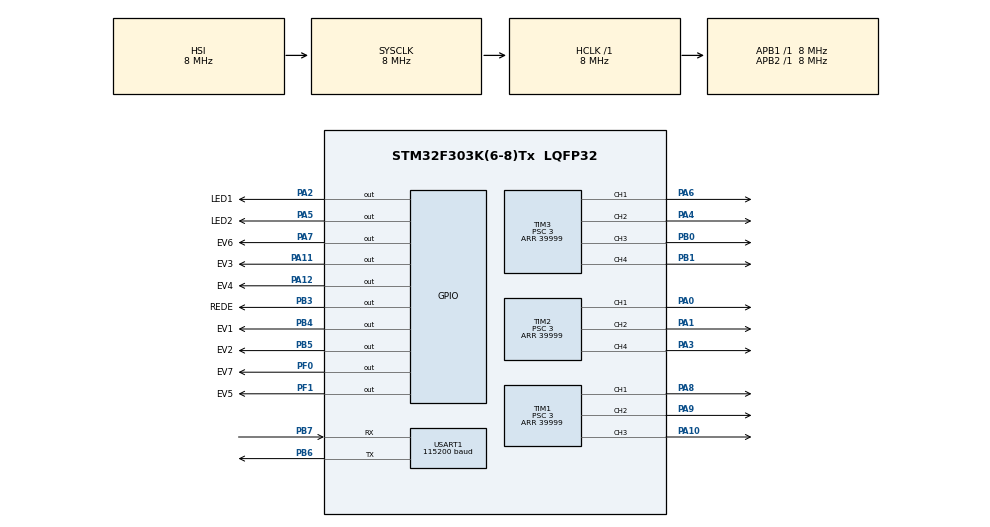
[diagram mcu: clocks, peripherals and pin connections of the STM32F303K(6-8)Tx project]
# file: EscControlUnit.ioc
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Mcu.Family=STM32F3
Mcu.Name=STM32F303K(6-8)Tx
Mcu.Package=LQFP32
NVIC.PriorityGroup=NVIC_PRIORITYGROUP_4
NVIC.USART1_IRQn=true\:1\:0\:true\:false\:true
PA0.Signal=S_TIM2_CH1_ETR
PA1.Signal=S_TIM2_CH2
PA10.Signal=S_TIM1_CH3
PA11.GPIO_Label=EV3
PA11.Signal=GPIO_Output
PA12.GPIO_Label=EV4
PA12.Signal=GPIO_Output
PA13.Mode=Serial_Wire
PA13.Signal=SYS_JTMS-SWDIO
PA14.Mode=Serial_Wire
PA14.Signal=SYS_JTCK-SWCLK
PA2.GPIO_Label=LED1
PA2.Signal=GPIO_Output
PA3.Signal=S_TIM2_CH4
PA4.Signal=S_TIM3_CH2
PA5.GPIO_Label=LED2
PA5.Signal=GPIO_Output
PA6.Signal=S_TIM3_CH1
PA7.GPIO_Label=EV6
PA7.Signal=GPIO_Output
PA8.Signal=S_TIM1_CH1
PA9.Signal=S_TIM1_CH2
PB0.Signal=S_TIM3_CH3
PB1.Signal=S_TIM3_CH4
PB3.GPIO_Label=REDE
PB3.Signal=GPIO_Output
PB4.GPIO_Label=EV1
PB4.Signal=GPIO_Output
PB5.GPIO_Label=EV2
PB5.Signal=GPIO_Output
PB6.Mode=Asynchronous
PB6.Signal=USART1_TX
PB7.Mode=Asynchronous
PB7.Signal=USART1_RX
PF0\ /\ OSC_IN.GPIO_Label=EV7
PF0\ /\ OSC_IN.Signal=GPIO_Output
PF1\ /\ OSC_OUT.GPIO_Label=EV5
PF1\ /\ OSC_OUT.Signal=GPIO_Output
ProjectManager.HeapSize=0x200
ProjectManager.StackSize=0x400
ProjectManager.TargetToolchain=SW4STM32
RCC.AHBFreq_Value=8000000
RCC.APB1Freq_Value=8000000
RCC.APB2Freq_Value=8000000
RCC.CortexFreq_Value=8000000
RCC.HSE_VALUE=8000000
RCC.HSI_VALUE=8000000
RCC.SYSCLKFreq_VALUE=8000000
SH.S_TIM1_CH1.0=TIM1_CH1,PWM Generation1 CH1
SH.S_TIM1_CH2.0=TIM1_CH2,Output Compare2 CH2
SH.S_TIM1_CH3.0=TIM1_CH3,Output Compare3 CH3
SH.S_TIM2_CH1_ETR.0=TIM2_CH1,PWM Generation1 CH1
SH.S_TIM2_CH2.0=TIM2_CH2,PWM Generation2 CH2
SH.S_TIM2_CH4.0=TIM2_CH4,PWM Generation4 CH4
SH.S_TIM3_CH1.0=TIM3_CH1,PWM Generation1 CH1
SH.S_TIM3_CH2.0=TIM3_CH2,PWM Generation2 CH2
SH.S_TIM3_CH3.0=TIM3_CH3,PWM Generation3 CH3
SH.S_TIM3_CH4.0=TIM3_CH4,PWM Generation4 CH4
TIM1.Channel-Output\ Compare2\ CH2=TIM_CHANNEL_2
TIM1.Channel-Output\ Compare3\ CH3=TIM_CHANNEL_3
TIM1.Period=39999
TIM1.Prescaler=3
TIM2.Channel-PWM\ Generation2\ CH2=TIM_CHANNEL_2
TIM2.Channel-PWM\ Generation4\ CH4=TIM_CHANNEL_4
TIM2.Period=39999
TIM2.Prescaler=3
TIM3.Channel-PWM\ Generation2\ CH2=TIM_CHANNEL_2
TIM3.Channel-PWM\ Generation3\ CH3=TIM_CHANNEL_3
TIM3.Channel-PWM\ Generation4\ CH4=TIM_CHANNEL_4
TIM3.Period=39999
TIM3.Prescaler=3
USART1.BaudRate=115200
USART1.WordLength=UART_WORDLENGTH_8B
board=EscControlUnit

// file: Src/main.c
/**
  ******************************************************************************
  * File Name          : main.c
  * Description        : Main program body
  ******************************************************************************
  *
  * COPYRIGHT(c) 2017 STMicroelectronics
  *
  * Redistribution and use in source and binary forms, with or without modification,
  * are permitted provided that the following conditions are met:
  *   1. Redistributions of source code must retain the above copyright notice,
  *      this list of conditions and the following disclaimer.
  *   2. Redistributions in binary form must reproduce the above copyright notice,
  *      this list of conditions and the following disclaimer in the documentation
  *      and/or other materials provided with the distribution.
  *   3. Neither the name of STMicroelectronics nor the names of its contributors
  *      may be used to endorse or promote products derived from this software
  *      without specific prior written permission.
  *
  * THIS SOFTWARE IS PROVIDED BY THE COPYRIGHT HOLDERS AND CONTRIBUTORS "AS IS"
  * AND ANY EXPRESS OR IMPLIED WARRANTIES, INCLUDING, BUT NOT LIMITED TO, THE
  * IMPLIED WARRANTIES OF MERCHANTABILITY AND FITNESS FOR A PARTICULAR PURPOSE ARE
  * DISCLAIMED. IN NO EVENT SHALL THE COPYRIGHT HOLDER OR CONTRIBUTORS BE LIABLE
  * FOR ANY DIRECT, INDIRECT, INCIDENTAL, SPECIAL, EXEMPLARY, OR CONSEQUENTIAL
  * DAMAGES (INCLUDING, BUT NOT LIMITED TO, PROCUREMENT OF SUBSTITUTE GOODS OR
  * SERVICES; LOSS OF USE, DATA, OR PROFITS; OR BUSINESS INTERRUPTION) HOWEVER
  * CAUSED AND ON ANY THEORY OF LIABILITY, WHETHER IN CONTRACT, STRICT LIABILITY,
  * OR TORT (INCLUDING NEGLIGENCE OR OTHERWISE) ARISING IN ANY WAY OUT OF THE USE
  * OF THIS SOFTWARE, EVEN IF ADVISED OF THE POSSIBILITY OF SUCH DAMAGE.
  *
  ******************************************************************************
  */
#include "main.h"
#include "stm32f3xx_hal.h"

/* USER CODE BEGIN Includes */
#include "defined_constants.h"
/* USER CODE END Includes */

TIM_HandleTypeDef htim1;
TIM_HandleTypeDef htim2;
TIM_HandleTypeDef htim3;

UART_HandleTypeDef huart1;

/* USER CODE BEGIN PV */
/* Private variables ---------------------------------------------------------*/

/* USER CODE END PV */

void SystemClock_Config(void);
void Error_Handler(void);
static void MX_GPIO_Init(void);
static void MX_TIM1_Init(void);
static void MX_TIM2_Init(void);
static void MX_TIM3_Init(void);
static void MX_USART1_UART_Init(void);
void HAL_TIM_MspPostInit(TIM_HandleTypeDef *htim);
/* USER CODE BEGIN PFP */
/* Private function prototypes -----------------------------------------------*/
/* USER CODE END PFP */
/* USER CODE BEGIN 0 */
/*--- buffer ---*/
int _index;
uint8_t RxData;
uint8_t Rxbuff[5];
uint16_t databuf[3];
float esc_value[10]={val_default};
void sendData(uint16_t *Data);
void REDEOn();
void REDEOff();
void EV1On();
void EV1Off();
void EV2On();
void EV2Off();
void EV3On();
void EV3Off();
void EV4On();
void EV4Off();
void EV5On();
void EV5Off();
void EV6On();
void EV6Off();
void EV7On();
void EV7Off();
void LED1On();
void LED1Off();
void LED1Toggle();
void LED2On();
void LED2Off();
void LED2Toggle();
void EscStart();
void EscStop();
uint8_t isOn(uint8_t a,uint8_t b,uint8_t c);
uint8_t ESC_CONTROL(uint8_t *Data);
void user_A0_pwm_setvalue(float value);
void user_A1_pwm_setvalue(float value);
void user_A3_pwm_setvalue(float value);
void user_A4_pwm_setvalue(float value);
void user_A6_pwm_setvalue(float value);
void user_B0_pwm_setvalue(float value);
void user_B1_pwm_setvalue(float value);
void user_A8_pwm_setvalue(float value);
void user_A9_pwm_setvalue(float value);
void user_A10_pwm_setvalue(float value);
/* USER CODE END 0 */

int main(void)
{
  /* MCU Configuration----------------------------------------------------------*/
  /* Reset of all peripherals, Initializes the Flash interface and the Systick. */
  HAL_Init();
  /* Configure the system clock */
  SystemClock_Config();
  /* Initialize all configured peripherals */
  MX_GPIO_Init();
  MX_TIM1_Init();
  MX_TIM2_Init();
  MX_TIM3_Init();
  MX_USART1_UART_Init();
  /* USER CODE BEGIN 2 */
	HAL_UART_Receive_IT(&huart1,&RxData,1);
	LED1Off();
	LED2Off();
  /* USER CODE END 2 */
  /* Infinite loop */
  /* USER CODE BEGIN WHILE */
  while (1)
  {
  LED1Toggle();
  HAL_Delay(10);
  /* USER CODE END WHILE */
  }
}

/** System Clock Configuration
*/
void SystemClock_Config(void)
{

  RCC_OscInitTypeDef RCC_OscInitStruct;
  RCC_ClkInitTypeDef RCC_ClkInitStruct;
  RCC_PeriphCLKInitTypeDef PeriphClkInit;

    /**Initializes the CPU, AHB and APB busses clocks
    */
  RCC_OscInitStruct.OscillatorType = RCC_OSCILLATORTYPE_HSI;
  RCC_OscInitStruct.HSIState = RCC_HSI_ON;
  RCC_OscInitStruct.HSICalibrationValue = 16;
  RCC_OscInitStruct.PLL.PLLState = RCC_PLL_NONE;
  if (HAL_RCC_OscConfig(&RCC_OscInitStruct) != HAL_OK)
  {
    Error_Handler();
  }

    /**Initializes the CPU, AHB and APB busses clocks
    */
  RCC_ClkInitStruct.ClockType = RCC_CLOCKTYPE_HCLK|RCC_CLOCKTYPE_SYSCLK
                              |RCC_CLOCKTYPE_PCLK1|RCC_CLOCKTYPE_PCLK2;
  RCC_ClkInitStruct.SYSCLKSource = RCC_SYSCLKSOURCE_HSI;
  RCC_ClkInitStruct.AHBCLKDivider = RCC_SYSCLK_DIV1;
  RCC_ClkInitStruct.APB1CLKDivider = RCC_HCLK_DIV1;
  RCC_ClkInitStruct.APB2CLKDivider = RCC_HCLK_DIV1;

  if (HAL_RCC_ClockConfig(&RCC_ClkInitStruct, FLASH_LATENCY_0) != HAL_OK)
  {
    Error_Handler();
  }

  PeriphClkInit.PeriphClockSelection = RCC_PERIPHCLK_USART1|RCC_PERIPHCLK_TIM1;
  PeriphClkInit.Usart1ClockSelection = RCC_USART1CLKSOURCE_PCLK1;
  PeriphClkInit.Tim1ClockSelection = RCC_TIM1CLK_HCLK;
  if (HAL_RCCEx_PeriphCLKConfig(&PeriphClkInit) != HAL_OK)
  {
    Error_Handler();
  }

    /**Configure the Systick interrupt time
    */
  HAL_SYSTICK_Config(HAL_RCC_GetHCLKFreq()/1000);

    /**Configure the Systick
    */
  HAL_SYSTICK_CLKSourceConfig(SYSTICK_CLKSOURCE_HCLK);

  /* SysTick_IRQn interrupt configuration */
  HAL_NVIC_SetPriority(SysTick_IRQn, 0, 0);
}

/* TIM1 init function */
static void MX_TIM1_Init(void)
{

  TIM_MasterConfigTypeDef sMasterConfig;
  TIM_OC_InitTypeDef sConfigOC;
  TIM_BreakDeadTimeConfigTypeDef sBreakDeadTimeConfig;

  htim1.Instance = TIM1;
  htim1.Init.Prescaler = 3;
  htim1.Init.CounterMode = TIM_COUNTERMODE_UP;
  htim1.Init.Period = 39999;
  htim1.Init.ClockDivision = TIM_CLOCKDIVISION_DIV1;
  htim1.Init.RepetitionCounter = 0;
  if (HAL_TIM_PWM_Init(&htim1) != HAL_OK)
  {
    Error_Handler();
  }

  if (HAL_TIM_OC_Init(&htim1) != HAL_OK)
  {
    Error_Handler();
  }

  sMasterConfig.MasterOutputTrigger = TIM_TRGO_RESET;
  sMasterConfig.MasterOutputTrigger2 = TIM_TRGO2_RESET;
  sMasterConfig.MasterSlaveMode = TIM_MASTERSLAVEMODE_DISABLE;
  if (HAL_TIMEx_MasterConfigSynchronization(&htim1, &sMasterConfig) != HAL_OK)
  {
    Error_Handler();
  }

  sConfigOC.OCMode = TIM_OCMODE_PWM1;
  sConfigOC.Pulse = 0;
  sConfigOC.OCPolarity = TIM_OCPOLARITY_HIGH;
  sConfigOC.OCNPolarity = TIM_OCNPOLARITY_HIGH;
  sConfigOC.OCFastMode = TIM_OCFAST_DISABLE;
  sConfigOC.OCIdleState = TIM_OCIDLESTATE_RESET;
  sConfigOC.OCNIdleState = TIM_OCNIDLESTATE_RESET;
  if (HAL_TIM_PWM_ConfigChannel(&htim1, &sConfigOC, TIM_CHANNEL_1) != HAL_OK)
  {
    Error_Handler();
  }

  sConfigOC.OCMode = TIM_OCMODE_TIMING;
  if (HAL_TIM_OC_ConfigChannel(&htim1, &sConfigOC, TIM_CHANNEL_2) != HAL_OK)
  {
    Error_Handler();
  }

  if (HAL_TIM_OC_ConfigChannel(&htim1, &sConfigOC, TIM_CHANNEL_3) != HAL_OK)
  {
    Error_Handler();
  }

  sBreakDeadTimeConfig.OffStateRunMode = TIM_OSSR_DISABLE;
  sBreakDeadTimeConfig.OffStateIDLEMode = TIM_OSSI_DISABLE;
  sBreakDeadTimeConfig.LockLevel = TIM_LOCKLEVEL_OFF;
  sBreakDeadTimeConfig.DeadTime = 0;
  sBreakDeadTimeConfig.BreakState = TIM_BREAK_DISABLE;
  sBreakDeadTimeConfig.BreakPolarity = TIM_BREAKPOLARITY_HIGH;
  sBreakDeadTimeConfig.BreakFilter = 0;
  sBreakDeadTimeConfig.Break2State = TIM_BREAK2_DISABLE;
  sBreakDeadTimeConfig.Break2Polarity = TIM_BREAK2POLARITY_HIGH;
  sBreakDeadTimeConfig.Break2Filter = 0;
  sBreakDeadTimeConfig.AutomaticOutput = TIM_AUTOMATICOUTPUT_DISABLE;
  if (HAL_TIMEx_ConfigBreakDeadTime(&htim1, &sBreakDeadTimeConfig) != HAL_OK)
  {
    Error_Handler();
  }

  HAL_TIM_MspPostInit(&htim1);

}

/* TIM2 init function */
static void MX_TIM2_Init(void)
{

  TIM_MasterConfigTypeDef sMasterConfig;
  TIM_OC_InitTypeDef sConfigOC;

  htim2.Instance = TIM2;
  htim2.Init.Prescaler = 3;
  htim2.Init.CounterMode = TIM_COUNTERMODE_UP;
  htim2.Init.Period = 39999;
  htim2.Init.ClockDivision = TIM_CLOCKDIVISION_DIV1;
  if (HAL_TIM_PWM_Init(&htim2) != HAL_OK)
  {
    Error_Handler();
  }

  sMasterConfig.MasterOutputTrigger = TIM_TRGO_RESET;
  sMasterConfig.MasterSlaveMode = TIM_MASTERSLAVEMODE_DISABLE;
  if (HAL_TIMEx_MasterConfigSynchronization(&htim2, &sMasterConfig) != HAL_OK)
  {
    Error_Handler();
  }

  sConfigOC.OCMode = TIM_OCMODE_PWM1;
  sConfigOC.Pulse = 0;
  sConfigOC.OCPolarity = TIM_OCPOLARITY_HIGH;
  sConfigOC.OCFastMode = TIM_OCFAST_DISABLE;
  if (HAL_TIM_PWM_ConfigChannel(&htim2, &sConfigOC, TIM_CHANNEL_1) != HAL_OK)
  {
    Error_Handler();
  }

  if (HAL_TIM_PWM_ConfigChannel(&htim2, &sConfigOC, TIM_CHANNEL_2) != HAL_OK)
  {
    Error_Handler();
  }

  if (HAL_TIM_PWM_ConfigChannel(&htim2, &sConfigOC, TIM_CHANNEL_4) != HAL_OK)
  {
    Error_Handler();
  }

  HAL_TIM_MspPostInit(&htim2);

}

/* TIM3 init function */
static void MX_TIM3_Init(void)
{

  TIM_MasterConfigTypeDef sMasterConfig;
  TIM_OC_InitTypeDef sConfigOC;

  htim3.Instance = TIM3;
  htim3.Init.Prescaler = 3;
  htim3.Init.CounterMode = TIM_COUNTERMODE_UP;
  htim3.Init.Period = 39999;
  htim3.Init.ClockDivision = TIM_CLOCKDIVISION_DIV1;
  if (HAL_TIM_PWM_Init(&htim3) != HAL_OK)
  {
    Error_Handler();
  }

  sMasterConfig.MasterOutputTrigger = TIM_TRGO_RESET;
  sMasterConfig.MasterSlaveMode = TIM_MASTERSLAVEMODE_DISABLE;
  if (HAL_TIMEx_MasterConfigSynchronization(&htim3, &sMasterConfig) != HAL_OK)
  {
    Error_Handler();
  }

  sConfigOC.OCMode = TIM_OCMODE_PWM1;
  sConfigOC.Pulse = 0;
  sConfigOC.OCPolarity = TIM_OCPOLARITY_HIGH;
  sConfigOC.OCFastMode = TIM_OCFAST_DISABLE;
  if (HAL_TIM_PWM_ConfigChannel(&htim3, &sConfigOC, TIM_CHANNEL_1) != HAL_OK)
  {
    Error_Handler();
  }

  if (HAL_TIM_PWM_ConfigChannel(&htim3, &sConfigOC, TIM_CHANNEL_2) != HAL_OK)
  {
    Error_Handler();
  }

  if (HAL_TIM_PWM_ConfigChannel(&htim3, &sConfigOC, TIM_CHANNEL_3) != HAL_OK)
  {
    Error_Handler();
  }

  if (HAL_TIM_PWM_ConfigChannel(&htim3, &sConfigOC, TIM_CHANNEL_4) != HAL_OK)
  {
    Error_Handler();
  }

  HAL_TIM_MspPostInit(&htim3);

}

/* USART1 init function */
static void MX_USART1_UART_Init(void)
{

  huart1.Instance = USART1;
  huart1.Init.BaudRate = 115200;
  huart1.Init.WordLength = UART_WORDLENGTH_8B;
  huart1.Init.StopBits = UART_STOPBITS_1;
  huart1.Init.Parity = UART_PARITY_NONE;
  huart1.Init.Mode = UART_MODE_TX_RX;
  huart1.Init.HwFlowCtl = UART_HWCONTROL_NONE;
  huart1.Init.OverSampling = UART_OVERSAMPLING_16;
  huart1.Init.OneBitSampling = UART_ONE_BIT_SAMPLE_DISABLE;
  huart1.AdvancedInit.AdvFeatureInit = UART_ADVFEATURE_NO_INIT;
  if (HAL_UART_Init(&huart1) != HAL_OK)
  {
    Error_Handler();
  }

}

/** Configure pins as
        * Analog
        * Input
        * Output
        * EVENT_OUT
        * EXTI
*/
static void MX_GPIO_Init(void)
{

  GPIO_InitTypeDef GPIO_InitStruct;

  /* GPIO Ports Clock Enable */
  __HAL_RCC_GPIOF_CLK_ENABLE();
  __HAL_RCC_GPIOA_CLK_ENABLE();
  __HAL_RCC_GPIOB_CLK_ENABLE();

  /*Configure GPIO pin Output Level */
  HAL_GPIO_WritePin(GPIOF, EV7_Pin|EV5_Pin, GPIO_PIN_RESET);

  /*Configure GPIO pin Output Level */
  HAL_GPIO_WritePin(GPIOA, LED1_Pin|LED2_Pin|EV6_Pin|EV3_Pin
                          |EV4_Pin, GPIO_PIN_RESET);

  /*Configure GPIO pin Output Level */
  HAL_GPIO_WritePin(GPIOB, REDE_Pin|EV1_Pin|EV2_Pin, GPIO_PIN_RESET);

  /*Configure GPIO pins : EV7_Pin EV5_Pin */
  GPIO_InitStruct.Pin = EV7_Pin|EV5_Pin;
  GPIO_InitStruct.Mode = GPIO_MODE_OUTPUT_PP;
  GPIO_InitStruct.Pull = GPIO_NOPULL;
  GPIO_InitStruct.Speed = GPIO_SPEED_FREQ_LOW;
  HAL_GPIO_Init(GPIOF, &GPIO_InitStruct);

  /*Configure GPIO pins : LED1_Pin LED2_Pin EV6_Pin EV3_Pin
                           EV4_Pin */
  GPIO_InitStruct.Pin = LED1_Pin|LED2_Pin|EV6_Pin|EV3_Pin
                          |EV4_Pin;
  GPIO_InitStruct.Mode = GPIO_MODE_OUTPUT_PP;
  GPIO_InitStruct.Pull = GPIO_NOPULL;
  GPIO_InitStruct.Speed = GPIO_SPEED_FREQ_LOW;
  HAL_GPIO_Init(GPIOA, &GPIO_InitStruct);

  /*Configure GPIO pins : REDE_Pin EV1_Pin EV2_Pin */
  GPIO_InitStruct.Pin = REDE_Pin|EV1_Pin|EV2_Pin;
  GPIO_InitStruct.Mode = GPIO_MODE_OUTPUT_PP;
  GPIO_InitStruct.Pull = GPIO_NOPULL;
  GPIO_InitStruct.Speed = GPIO_SPEED_FREQ_LOW;
  HAL_GPIO_Init(GPIOB, &GPIO_InitStruct);

}

/* USER CODE BEGIN 4 */
/*GPIO_On*/
void EV1On(){
	HAL_GPIO_WritePin(EV1_GPIO_Port,EV1_Pin,GPIO_PIN_SET);
}
void EV2On(){
	HAL_GPIO_WritePin(EV2_GPIO_Port,EV2_Pin,GPIO_PIN_SET);
}
void EV3On(){
	HAL_GPIO_WritePin(EV3_GPIO_Port,EV3_Pin,GPIO_PIN_SET);
}
void EV4On(){
	HAL_GPIO_WritePin(EV4_GPIO_Port,EV4_Pin,GPIO_PIN_SET);
}
void EV5On(){
	HAL_GPIO_WritePin(EV5_GPIO_Port,EV5_Pin,GPIO_PIN_SET);
}
void EV6On(){
	HAL_GPIO_WritePin(EV6_GPIO_Port,EV6_Pin,GPIO_PIN_SET);
}
void EV7On(){
	HAL_GPIO_WritePin(EV7_GPIO_Port,EV7_Pin,GPIO_PIN_SET);
}
void LED1On(){
	HAL_GPIO_WritePin(LED1_GPIO_Port,LED1_Pin,GPIO_PIN_SET);
}
void LED2On(){
	HAL_GPIO_WritePin(LED2_GPIO_Port,LED2_Pin,GPIO_PIN_SET);
}
void REDEOn(){
	HAL_GPIO_WritePin(REDE_GPIO_Port,REDE_Pin,GPIO_PIN_SET);
}
/*GPIO_Off*/
void EV1Off(){
	HAL_GPIO_WritePin(EV1_GPIO_Port,EV1_Pin,GPIO_PIN_RESET);
}
void EV2Off(){
	HAL_GPIO_WritePin(EV2_GPIO_Port,EV2_Pin,GPIO_PIN_RESET);
}
void EV3Off(){
	HAL_GPIO_WritePin(EV3_GPIO_Port,EV3_Pin,GPIO_PIN_RESET);
}
void EV4Off(){
	HAL_GPIO_WritePin(EV4_GPIO_Port,EV4_Pin,GPIO_PIN_RESET);
}
void EV5Off(){
	HAL_GPIO_WritePin(EV5_GPIO_Port,EV5_Pin,GPIO_PIN_RESET);
}
void EV6Off(){
	HAL_GPIO_WritePin(EV6_GPIO_Port,EV6_Pin,GPIO_PIN_RESET);
}
void EV7Off(){
	HAL_GPIO_WritePin(EV7_GPIO_Port,EV7_Pin,GPIO_PIN_RESET);
}
void LED1Off(){
	HAL_GPIO_WritePin(LED1_GPIO_Port,LED1_Pin,GPIO_PIN_RESET);
}
void LED2Off(){
	HAL_GPIO_WritePin(LED2_GPIO_Port,LED2_Pin,GPIO_PIN_RESET);
}
void REDEOff(){
	HAL_GPIO_WritePin(REDE_GPIO_Port,REDE_Pin,GPIO_PIN_RESET);
}
/*GPIOToggle*/
void LED1Toggle(){
	HAL_GPIO_TogglePin(LED1_GPIO_Port,LED1_Pin);
}
void LED2Toggle(){
	HAL_GPIO_TogglePin(LED2_GPIO_Port,LED2_Pin);
}
/*Interupt*/
void HAL_UART_TxCpltCallback(UART_HandleTypeDef *UartHandle){}
void HAL_UART_RxCpltCallback(UART_HandleTypeDef *UartHandle){
	volatile int j=0;
	HAL_UART_Receive_IT(&huart1, &RxData, 1);
	uint8_t Data = RxData;
	if(_index != 0){
		Rxbuff[_index-1] = Data;
		_index++;
		if(_index == 5){
			_index=0;
			if(Rxbuff[0] == 0xBB){
				ESC_CONTROL(Rxbuff);
			}
		}
	}else
		if(Data == 0x23){
		_index=1;
	}
}
/*UART*/
void sendData(uint16_t *Data){
	int i;
	volatile int j;
	uint8_t TxData[10];
	uint8_t CheckSum = 0;
	TxData[0] = '#';
	TxData[1] = 0xBB;
	TxData[2] = 0x06;
	TxData[3] = ((Data[0]>>0)&0xFF);
	TxData[4] = ((Data[0]>>8)&0xFF);
	TxData[5] = ((Data[1]>>0)&0xFF);
	TxData[6] = ((Data[1]>>8)&0xFF);
	TxData[7] = ((Data[2]>>0)&0xFF);
	TxData[8] = ((Data[2]>>8)&0xFF);
	for(i=0; i<9; i++){
		CheckSum = CheckSum ^ TxData[i];
	}
	TxData[9] = CheckSum;
	REDEOn();
	HAL_UART_Transmit(&huart1,TxData,10,1);
	for(j=0;j<SENDDELAYCOUNT;j++);
	REDEOff();
}
/*ESC*/
uint8_t ESC_CONTROL(uint8_t *Dat){
	int i=0;
	uint8_t Data[4];
	for(i=0;i<4;i++){
		Data[i] = Dat[i];
	}
	int _checksum = 0;
	_checksum = _checksum^0x23;
	for(i=0;i<3;i++){
		_checksum = _checksum ^ Data[i];
	}
	if(Data[3] == _checksum){
		if((Data[1] & 0x01) != 0 )EV1On();
		else EV1Off();
		if((Data[1] & 0x02) != 0 )EV2On();
		else EV2Off();
		if((Data[1] & 0x04) != 0 )EV3On();
		else EV3Off();
		if((Data[1] & 0x08) != 0 )EV4On();
		else EV4Off();
		if((Data[1] & 0x10) != 0 )EV5On();
		else EV5Off();
		if((Data[1] & 0x20) != 0 )EV6On();
		else EV6Off();
		if((Data[1] & 0x40) != 0 )EV7On();
		else EV7Off();
		if((Data[1] & 0x80) != 0 )EscStart();
		else EscStop();
		LED2Toggle();
		return true;
	}else{
		return false;
	}
}
void EscStart(){
	user_A0_pwm_setvalue(val_A0_1);
	user_A1_pwm_setvalue(val_A1_1);
	user_A3_pwm_setvalue(val_A3_1);
	user_A4_pwm_setvalue(val_A4_1);
	user_A6_pwm_setvalue(val_A6_1);
	user_B0_pwm_setvalue(val_B0_1);
	user_B1_pwm_setvalue(val_B1_1);
}
void EscStop(){
	user_A0_pwm_setvalue(val_default);
	user_A1_pwm_setvalue(val_default);
	user_A3_pwm_setvalue(val_default);
	user_A4_pwm_setvalue(val_default);
	user_A6_pwm_setvalue(val_default);
	user_B0_pwm_setvalue(val_default);
	user_B1_pwm_setvalue(val_default);
}
uint8_t isOn(uint8_t a,uint8_t b,uint8_t c){
	return ((a&c)!=0 + (b&c)!=0);
}
/*timer*/
void user_A0_pwm_setvalue(float value)
{
   TIM_OC_InitTypeDef sConfigOC;
   sConfigOC.OCMode = TIM_OCMODE_PWM1;
   sConfigOC.Pulse = (uint32_t)((39999)*value);
   sConfigOC.OCPolarity = TIM_OCPOLARITY_HIGH;
   sConfigOC.OCNPolarity = TIM_OCNPOLARITY_HIGH;
   sConfigOC.OCFastMode = TIM_OCFAST_DISABLE;
   sConfigOC.OCIdleState = TIM_OCIDLESTATE_RESET;
   sConfigOC.OCNIdleState = TIM_OCNIDLESTATE_RESET;
   HAL_TIM_PWM_ConfigChannel(&htim2, &sConfigOC, TIM_CHANNEL_1);
   HAL_TIM_PWM_Start(&htim2, TIM_CHANNEL_1);
   HAL_TIMEx_PWMN_Start(&htim2, TIM_CHANNEL_1);
}
void user_A1_pwm_setvalue(float value)
{
   TIM_OC_InitTypeDef sConfigOC;
   sConfigOC.OCMode = TIM_OCMODE_PWM1;
   sConfigOC.Pulse = (uint32_t)((39999)*value);
   sConfigOC.OCPolarity = TIM_OCPOLARITY_HIGH;
   sConfigOC.OCNPolarity = TIM_OCNPOLARITY_HIGH;
   sConfigOC.OCFastMode = TIM_OCFAST_DISABLE;
   sConfigOC.OCIdleState = TIM_OCIDLESTATE_RESET;
   sConfigOC.OCNIdleState = TIM_OCNIDLESTATE_RESET;
   HAL_TIM_PWM_ConfigChannel(&htim2, &sConfigOC, TIM_CHANNEL_2);
   HAL_TIM_PWM_Start(&htim2, TIM_CHANNEL_2);
   HAL_TIMEx_PWMN_Start(&htim2, TIM_CHANNEL_2);
}
void user_A3_pwm_setvalue(float value)
{
   TIM_OC_InitTypeDef sConfigOC;
   sConfigOC.OCMode = TIM_OCMODE_PWM1;
   sConfigOC.Pulse = (uint32_t)((39999)*value);
   sConfigOC.OCPolarity = TIM_OCPOLARITY_HIGH;
   sConfigOC.OCNPolarity = TIM_OCNPOLARITY_HIGH;
   sConfigOC.OCFastMode = TIM_OCFAST_DISABLE;
   sConfigOC.OCIdleState = TIM_OCIDLESTATE_RESET;
   sConfigOC.OCNIdleState = TIM_OCNIDLESTATE_RESET;
   HAL_TIM_PWM_ConfigChannel(&htim2, &sConfigOC, TIM_CHANNEL_4);
   HAL_TIM_PWM_Start(&htim2, TIM_CHANNEL_4);
   HAL_TIMEx_PWMN_Start(&htim2, TIM_CHANNEL_4);
}
void user_A4_pwm_setvalue(float value)
{
   TIM_OC_InitTypeDef sConfigOC;
   sConfigOC.OCMode = TIM_OCMODE_PWM1;
   sConfigOC.Pulse = (uint32_t)((39999)*value);
   sConfigOC.OCPolarity = TIM_OCPOLARITY_HIGH;
   sConfigOC.OCNPolarity = TIM_OCNPOLARITY_HIGH;
   sConfigOC.OCFastMode = TIM_OCFAST_DISABLE;
   sConfigOC.OCIdleState = TIM_OCIDLESTATE_RESET;
   sConfigOC.OCNIdleState = TIM_OCNIDLESTATE_RESET;
   HAL_TIM_PWM_ConfigChannel(&htim3, &sConfigOC, TIM_CHANNEL_2);
   HAL_TIM_PWM_Start(&htim3, TIM_CHANNEL_2);
   HAL_TIMEx_PWMN_Start(&htim3, TIM_CHANNEL_2);
}
void user_A6_pwm_setvalue(float value)
{
   TIM_OC_InitTypeDef sConfigOC;
   sConfigOC.OCMode = TIM_OCMODE_PWM1;
   sConfigOC.Pulse = (uint32_t)((39999)*value);
   sConfigOC.OCPolarity = TIM_OCPOLARITY_HIGH;
   sConfigOC.OCNPolarity = TIM_OCNPOLARITY_HIGH;
   sConfigOC.OCFastMode = TIM_OCFAST_DISABLE;
   sConfigOC.OCIdleState = TIM_OCIDLESTATE_RESET;
   sConfigOC.OCNIdleState = TIM_OCNIDLESTATE_RESET;
   HAL_TIM_PWM_ConfigChannel(&htim3, &sConfigOC, TIM_CHANNEL_1);
   HAL_TIM_PWM_Start(&htim3, TIM_CHANNEL_1);
   HAL_TIMEx_PWMN_Start(&htim3, TIM_CHANNEL_1);
}
void user_B0_pwm_setvalue(float value)
{
   TIM_OC_InitTypeDef sConfigOC;
   sConfigOC.OCMode = TIM_OCMODE_PWM1;
   sConfigOC.Pulse = (uint32_t)((39999)*value);
   sConfigOC.OCPolarity = TIM_OCPOLARITY_HIGH;
   sConfigOC.OCNPolarity = TIM_OCNPOLARITY_HIGH;
   sConfigOC.OCFastMode = TIM_OCFAST_DISABLE;
   sConfigOC.OCIdleState = TIM_OCIDLESTATE_RESET;
   sConfigOC.OCNIdleState = TIM_OCNIDLESTATE_RESET;
   HAL_TIM_PWM_ConfigChannel(&htim3, &sConfigOC, TIM_CHANNEL_3);
   HAL_TIM_PWM_Start(&htim3, TIM_CHANNEL_3);
   HAL_TIMEx_PWMN_Start(&htim3, TIM_CHANNEL_3);
}
void user_B1_pwm_setvalue(float value)
{
   TIM_OC_InitTypeDef sConfigOC;
   sConfigOC.OCMode = TIM_OCMODE_PWM1;
   sConfigOC.Pulse = (uint32_t)((39999)*value);
   sConfigOC.OCPolarity = TIM_OCPOLARITY_HIGH;
   sConfigOC.OCNPolarity = TIM_OCNPOLARITY_HIGH;
   sConfigOC.OCFastMode = TIM_OCFAST_DISABLE;
   sConfigOC.OCIdleState = TIM_OCIDLESTATE_RESET;
   sConfigOC.OCNIdleState = TIM_OCNIDLESTATE_RESET;
   HAL_TIM_PWM_ConfigChannel(&htim3, &sConfigOC, TIM_CHANNEL_4);
   HAL_TIM_PWM_Start(&htim3, TIM_CHANNEL_4);
   HAL_TIMEx_PWMN_Start(&htim3, TIM_CHANNEL_4);
}
void user_A8_pwm_setvalue(float value)
{
   TIM_OC_InitTypeDef sConfigOC;
   sConfigOC.OCMode = TIM_OCMODE_PWM1;
   sConfigOC.Pulse = (uint32_t)((39999)*value);
   sConfigOC.OCPolarity = TIM_OCPOLARITY_HIGH;
   sConfigOC.OCNPolarity = TIM_OCNPOLARITY_HIGH;
   sConfigOC.OCFastMode = TIM_OCFAST_DISABLE;
   sConfigOC.OCIdleState = TIM_OCIDLESTATE_RESET;
   sConfigOC.OCNIdleState = TIM_OCNIDLESTATE_RESET;
   HAL_TIM_PWM_ConfigChannel(&htim1, &sConfigOC, TIM_CHANNEL_1);
   HAL_TIM_PWM_Start(&htim1, TIM_CHANNEL_1);
   HAL_TIMEx_PWMN_Start(&htim1, TIM_CHANNEL_1);
}
void user_A9_pwm_setvalue(float value)
{
   TIM_OC_InitTypeDef sConfigOC;
   sConfigOC.OCMode = TIM_OCMODE_PWM1;
   sConfigOC.Pulse = (uint32_t)((39999)*value);
   sConfigOC.OCPolarity = TIM_OCPOLARITY_HIGH;
   sConfigOC.OCNPolarity = TIM_OCNPOLARITY_HIGH;
   sConfigOC.OCFastMode = TIM_OCFAST_DISABLE;
   sConfigOC.OCIdleState = TIM_OCIDLESTATE_RESET;
   sConfigOC.OCNIdleState = TIM_OCNIDLESTATE_RESET;
   HAL_TIM_PWM_ConfigChannel(&htim1, &sConfigOC, TIM_CHANNEL_2);
   HAL_TIM_PWM_Start(&htim1, TIM_CHANNEL_2);
   HAL_TIMEx_PWMN_Start(&htim1, TIM_CHANNEL_2);
}
void user_A10_pwm_setvalue(float value)
{
   TIM_OC_InitTypeDef sConfigOC;
   sConfigOC.OCMode = TIM_OCMODE_PWM1;
   sConfigOC.Pulse = (uint32_t)((39999)*value);
   sConfigOC.OCPolarity = TIM_OCPOLARITY_HIGH;
   sConfigOC.OCNPolarity = TIM_OCNPOLARITY_HIGH;
   sConfigOC.OCFastMode = TIM_OCFAST_DISABLE;
   sConfigOC.OCIdleState = TIM_OCIDLESTATE_RESET;
   sConfigOC.OCNIdleState = TIM_OCNIDLESTATE_RESET;
   HAL_TIM_PWM_ConfigChannel(&htim1, &sConfigOC, TIM_CHANNEL_3);
   HAL_TIM_PWM_Start(&htim1, TIM_CHANNEL_3);
   HAL_TIMEx_PWMN_Start(&htim1, TIM_CHANNEL_3);
}
/* USER CODE END 4 */

void Error_Handler(void)
{
  while(1)
  {
  }
}

/************************ (C) COPYRIGHT STMicroelectronics *****END OF FILE****/
